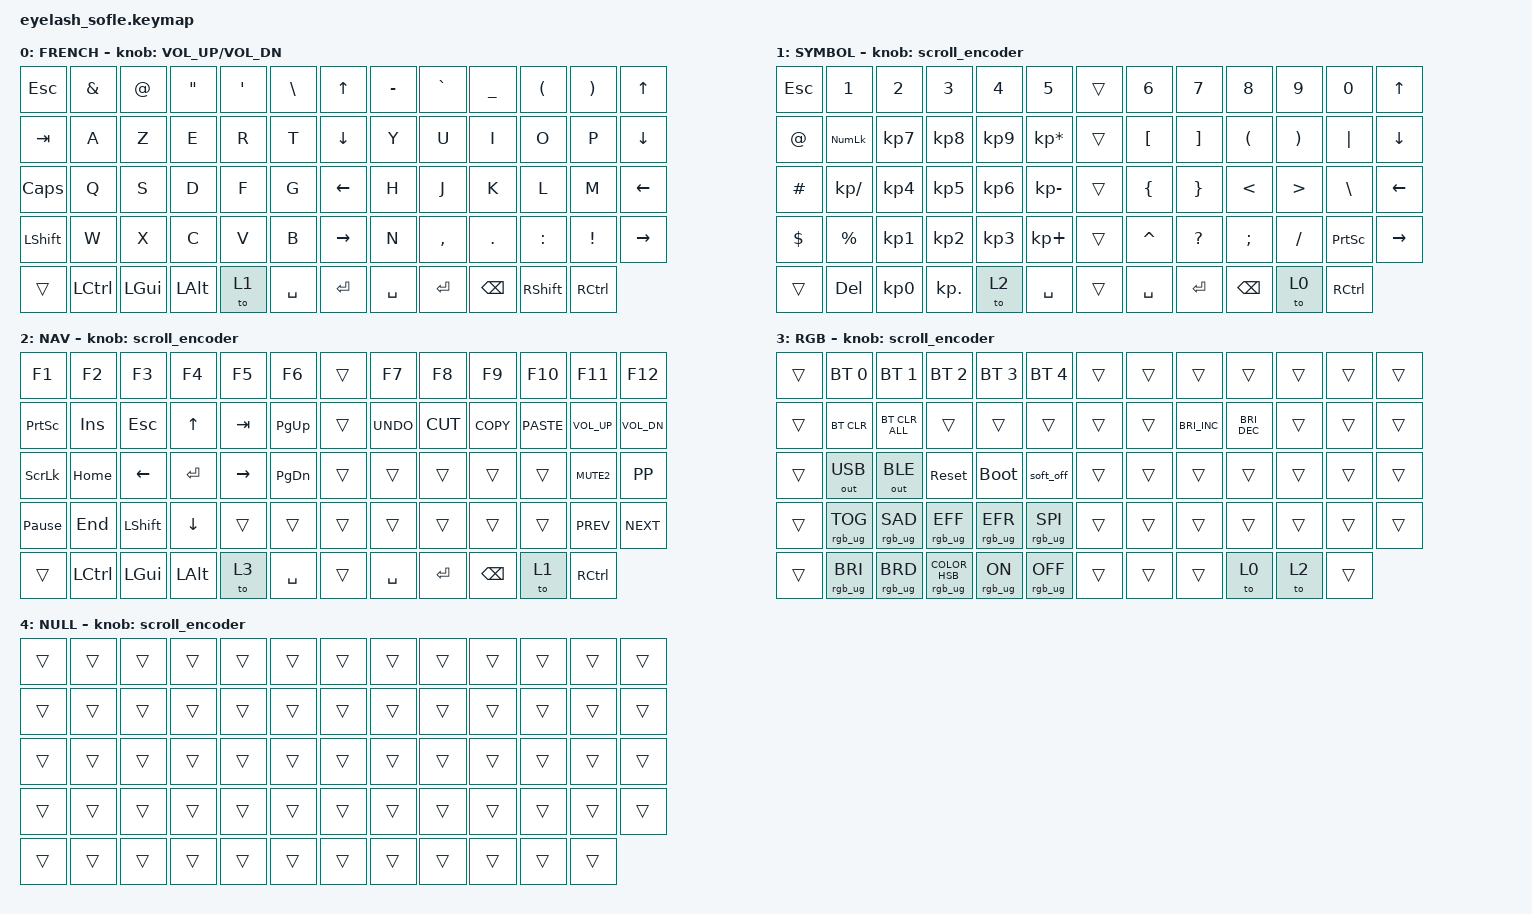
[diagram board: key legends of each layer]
#define ZMK_POINTING_DEFAULT_MOVE_VAL 1200  // 600
#define ZMK_POINTING_DEFAULT_SCRL_VAL 25   // 10

#include <input/processors.dtsi>
#include <zephyr/dt-bindings/input/input-event-codes.h>
#include <behaviors.dtsi>
#include <dt-bindings/zmk/bt.h>
#include <dt-bindings/zmk/keys.h>
#include <dt-bindings/zmk/outputs.h>
#include <dt-bindings/zmk/pointing.h>
#include <dt-bindings/zmk/rgb.h>

&mmv_input_listener { input-processors = <&zip_xy_scaler 2 1>; };

&msc_input_listener { input-processors = <&zip_scroll_scaler 2 1>; };

&msc {
    acceleration-exponent = <1>;      // 0
    time-to-max-speed-ms = <100>;       // 300
    delay-ms = <0>;                   // 0
};

&mmv {
    time-to-max-speed-ms = <500>;
    acceleration-exponent = <1>;
    trigger-period-ms = <16>;
};

&soft_off { hold-time-ms = <2000>; };

/ {
    scroll_encoder: scroll_encoder {
        compatible = "zmk,behavior-sensor-rotate";
        #sensor-binding-cells = <0>;
        bindings = <&msc SCRL_DOWN>, <&msc SCRL_UP>;

        tap-ms = <100>;
    };

    behaviors {
    };

    combos {
        compatible = "zmk,combos";

        softoff {
            bindings = <&soft_off>;
            key-positions = <14 28 40>;
        };
    };

    keymap {
        compatible = "zmk,keymap";

    // ======================
    // 🟢 LAYER 0 : AZERTY FR
    // ======================

        layer0 {
            bindings = <
&kp ESC     &kp AMPERSAND  &kp AT  &kp DQT   &kp APOS  &kp BSLH    &kp UP_ARROW     &kp MINUS  &kp GRAVE   &kp UNDERSCORE   &kp LPAR  &kp RPAR       &kp UP_ARROW
&kp TAB     &kp A      &kp Z         &kp E         &kp R   &kp T        &kp DOWN_ARROW   &kp Y      &kp U      &kp I      &kp O          &kp P       &kp DOWN_ARROW
&kp CAPS    &kp Q      &kp S         &kp D         &kp F   &kp G        &kp LEFT_ARROW   &kp H      &kp J      &kp K      &kp L          &kp M        &kp LEFT_ARROW
&kp LSHFT   &kp W      &kp X         &kp C         &kp V   &kp B        &kp RIGHT_ARROW  &kp N      &kp COMMA  &kp DOT    &kp COLON      &kp EXCL     &kp RIGHT_ARROW
&trans      &kp LCTRL  &kp LEFT_GUI  &kp LEFT_ALT  &to 1   &kp SPACE    &kp ENTER        &kp SPACE  &kp ENTER  &kp BACKSPACE  &kp RSHFT  &kp RCTRL
            >;

            sensor-bindings = <&inc_dec_kp C_VOLUME_UP C_VOL_DN>;
            display-name = "FRENCH";
        };

    // ======================
    // 🔵 LAYER 1 : SYMBOLS / NUMBERS
    // ======================

        layer_1 {
            bindings = <
&kp ESC   &kp N1     &kp N2       &kp N3     &kp N4   &kp N5             &trans     &kp N6   &kp N7   &kp N8   &kp N9   &kp N0           &kp UP_ARROW
&kp AT   &kp KP_NUM   &kp KP_N7   &kp KP_N8   &kp KP_N9 &kp KP_ASTERISK     &trans  &kp LBKT &kp RBKT &kp LPAR &kp RPAR &kp PIPE         &kp DOWN_ARROW
&kp HASH  &kp KP_DIVIDE  &kp KP_N4  &kp KP_N5   &kp KP_N6 &kp KP_MINUS    &trans  &kp LBRC &kp RBRC &kp LT &kp GT &kp BSLH               &kp LEFT_ARROW
&kp DLLR  &kp PERCENT  &kp KP_N1   &kp KP_N2 &kp KP_N3 &kp KP_PLUS          &trans   &kp CARET &kp QMARK &kp SEMI &kp SLASH &kp PSCRN    &kp RIGHT_ARROW
&trans    &kp DEL  &kp KP_N0  &kp KP_DOT   &to 2  &kp SPACE           &trans   &kp SPACE  &kp ENTER  &kp BACKSPACE  &to 0  &kp RCTRL
            >;

            display-name = "SYMBOL";
            sensor-bindings = <&scroll_encoder>;
        };

    // ======================
    // 🟣 LAYER 2 : NAV / SYSTEM
    // ======================

        layer_2 {
            bindings = <
&kp F1   &kp F2   &kp F3   &kp F4   &kp F5   &kp F6   &trans   &kp F7   &kp F8   &kp F9   &kp F10  &kp F11  &kp F12
&kp PSCRN  &kp INS &kp ESC  &kp UP  &kp TAB  &kp PG_UP  &trans    &kp K_UNDO &kp K_CUT &kp K_COPY &kp K_PASTE &kp K_VOL_UP &kp K_VOL_DN
&kp SLCK   &kp HOME &kp LEFT &kp ENTER &kp RIGHT &kp PG_DN &trans   &trans &trans &trans &trans &kp K_MUTE2 &kp K_PP
&kp PAUSE_BREAK &kp END  &kp LSHFT  &kp DOWN   &trans   &trans    &trans &trans &trans &trans &trans   &kp K_PREV  &kp K_NEXT
&trans    &kp LCTRL  &kp LEFT_GUI  &kp LEFT_ALT   &to 3  &kp SPACE    &trans  &kp SPACE  &kp ENTER  &kp BACKSPACE  &to 1  &kp RCTRL
            >;

            display-name = "NAV";
            sensor-bindings = <&scroll_encoder>;
        };

    // ======================
    // 🟣 LAYER 3 : RGB
    // ======================

        layer_3 {
            bindings = <
&trans  &bt BT_SEL 0  &bt BT_SEL 1    &bt BT_SEL 2  &bt BT_SEL 3  &bt BT_SEL 4  &trans  &trans  &trans  &trans  &trans  &trans  &trans
&trans  &bt BT_CLR    &bt BT_CLR_ALL  &trans  &trans  &trans    &trans  &trans   &kp C_BRI_INC  &kp C_BRI_DEC  &trans  &trans  &trans
&trans  &out OUT_USB  &out OUT_BLE  &sys_reset  &bootloader  &soft_off  &trans   &trans  &trans  &trans  &trans  &trans  &trans
&trans  &rgb_ug RGB_TOG  &rgb_ug RGB_SAD  &rgb_ug RGB_EFF  &rgb_ug RGB_EFR  &rgb_ug RGB_SPI  &trans  &trans  &trans  &trans  &trans  &trans &trans
&trans  &rgb_ug RGB_BRI  &rgb_ug RGB_BRD &rgb_ug RGB_COLOR_HSB(30, 100, 50) &rgb_ug RGB_ON  &rgb_ug RGB_OFF   &trans  &trans  &trans  &to 0  &to 2  &trans
            >;

            display-name = "RGB";
            sensor-bindings = <&scroll_encoder>;
        };

        layer_4 {
            bindings = <
&trans  &trans  &trans  &trans  &trans  &trans    &trans  &trans  &trans  &trans  &trans  &trans  &trans
&trans  &trans  &trans  &trans  &trans  &trans    &trans  &trans  &trans  &trans  &trans  &trans  &trans
&trans  &trans  &trans  &trans  &trans  &trans    &trans  &trans  &trans  &trans  &trans  &trans  &trans
&trans  &trans  &trans  &trans  &trans  &trans    &trans  &trans  &trans  &trans  &trans  &trans  &trans
&trans  &trans  &trans  &trans  &trans  &trans    &trans  &trans  &trans  &trans  &trans  &trans
            >;

            display-name = "NULL";
            sensor-bindings = <&scroll_encoder>;
        };
    };
};
